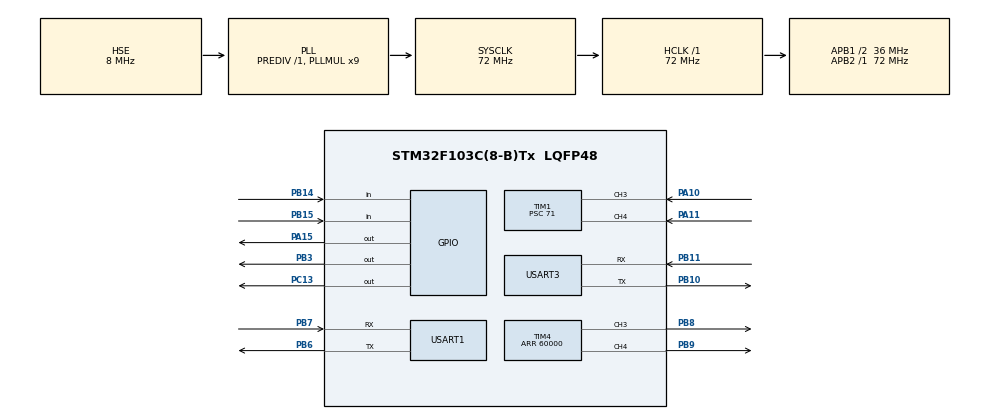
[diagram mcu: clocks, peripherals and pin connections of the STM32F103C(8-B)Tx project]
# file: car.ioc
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Mcu.Family=STM32F1
Mcu.Name=STM32F103C(8-B)Tx
Mcu.Package=LQFP48
NVIC.PriorityGroup=NVIC_PRIORITYGROUP_4
NVIC.TIM1_CC_IRQn=true\:0\:0\:false\:false\:true\:true\:true\:true
NVIC.TIM1_UP_IRQn=true\:0\:0\:false\:false\:true\:true\:true\:true
NVIC.TIM2_IRQn=true\:0\:0\:false\:false\:true\:true\:true\:true
NVIC.USART1_IRQn=true\:0\:0\:false\:false\:true\:true\:true\:true
NVIC.USART3_IRQn=true\:0\:0\:false\:false\:true\:true\:true\:true
PA10.GPIO_PuPd=GPIO_PULLDOWN
PA10.Signal=S_TIM1_CH3
PA11.GPIO_PuPd=GPIO_PULLDOWN
PA11.Signal=S_TIM1_CH4
PA13.Mode=Serial_Wire
PA13.Signal=SYS_JTMS-SWDIO
PA14.Mode=Serial_Wire
PA14.Signal=SYS_JTCK-SWCLK
PA15.Signal=GPIO_Output
PB10.Mode=Asynchronous
PB10.Signal=USART3_TX
PB11.Mode=Asynchronous
PB11.Signal=USART3_RX
PB14.GPIO_PuPd=GPIO_PULLDOWN
PB14.Signal=GPIO_Input
PB15.GPIO_PuPd=GPIO_PULLDOWN
PB15.Signal=GPIO_Input
PB3.Signal=GPIO_Output
PB6.Mode=Asynchronous
PB6.Signal=USART1_TX
PB7.Mode=Asynchronous
PB7.Signal=USART1_RX
PB8.Signal=S_TIM4_CH3
PB9.Signal=S_TIM4_CH4
PC13-TAMPER-RTC.Signal=GPIO_Output
PD0-OSC_IN.Mode=HSE-External-Oscillator
PD0-OSC_IN.Signal=RCC_OSC_IN
PD1-OSC_OUT.Mode=HSE-External-Oscillator
PD1-OSC_OUT.Signal=RCC_OSC_OUT
ProjectManager.HeapSize=0x200
ProjectManager.StackSize=0x400
ProjectManager.TargetToolchain=MDK-ARM V5.32
RCC.AHBFreq_Value=72000000
RCC.APB1CLKDivider=RCC_HCLK_DIV2
RCC.APB1Freq_Value=36000000
RCC.APB1TimFreq_Value=72000000
RCC.APB2Freq_Value=72000000
RCC.APB2TimFreq_Value=72000000
RCC.HCLKFreq_Value=72000000
RCC.PLLMUL=RCC_PLL_MUL9
RCC.PLLSourceVirtual=RCC_PLLSOURCE_HSE
RCC.SYSCLKFreq_VALUE=72000000
RCC.SYSCLKSource=RCC_SYSCLKSOURCE_PLLCLK
RCC.USBFreq_Value=72000000
SH.S_TIM1_CH3.0=TIM1_CH3,Input_Capture3_from_TI3
SH.S_TIM1_CH4.0=TIM1_CH4,Input_Capture4_from_TI4
SH.S_TIM4_CH3.0=TIM4_CH3,PWM Generation3 CH3
SH.S_TIM4_CH4.0=TIM4_CH4,PWM Generation4 CH4
TIM1.AutoReloadPreload=TIM_AUTORELOAD_PRELOAD_ENABLE
TIM1.Channel-Input_Capture3_from_TI3=TIM_CHANNEL_3
TIM1.Channel-Input_Capture4_from_TI4=TIM_CHANNEL_4
TIM1.Prescaler=71
TIM1.TIM_MasterOutputTrigger=TIM_TRGO_RESET
TIM2.AutoReloadPreload=TIM_AUTORELOAD_PRELOAD_ENABLE
TIM2.Period=4999
TIM2.Prescaler=71
TIM4.AutoReloadPreload=TIM_AUTORELOAD_PRELOAD_ENABLE
TIM4.Channel-PWM\ Generation3\ CH3=TIM_CHANNEL_3
TIM4.Channel-PWM\ Generation4\ CH4=TIM_CHANNEL_4
TIM4.Period=60000
USART1.VirtualMode=VM_ASYNC
USART3.VirtualMode=VM_ASYNC
VP_TIM1_VS_ClockSourceINT.Mode=Internal
VP_TIM2_VS_ClockSourceINT.Mode=Internal
VP_TIM4_VS_ClockSourceINT.Mode=Internal
board=custom

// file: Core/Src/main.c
/* USER CODE BEGIN Header */
/**
  ******************************************************************************
  * @file           : main.c
  * @brief          : Main program body
  ******************************************************************************
  * @attention
  *
  * Copyright (c) 2022 STMicroelectronics.
  * All rights reserved.
  *
  * This software is licensed under terms that can be found in the LICENSE file
  * in the root directory of this software component.
  * If no LICENSE file comes with this software, it is provided AS-IS.
  *
  ******************************************************************************
  */
/* USER CODE END Header */
#include "main.h"
#include "tim.h"
#include "usart.h"
#include "gpio.h"

/* USER CODE BEGIN Includes */
#include "stdio.h"
#include "motor_control.h"
#include "uart.h"
#include "string.h"
#include "motion.h"
/* USER CODE END Includes */

/* USER CODE BEGIN PTD */
#ifdef __GNUC__
  #define PUTCHAR_PROTOTYPE int __io_putchar(int ch)
#else
  #define PUTCHAR_PROTOTYPE int fputc(int ch, FILE *f)
#endif

PUTCHAR_PROTOTYPE
{
  HAL_UART_Transmit(&huart1,(uint8_t *)&ch,1,0xFFFF);//阻塞方式打印
  return ch;
}
/* USER CODE END PTD */

/* USER CODE BEGIN PV */
double TIM1_OVER=0;
double TIM1_CH3_VAL=0,Last_TIM1_CH3_VAL=0,TIM1_CH4_VAL=0,Last_TIM1_CH4_VAL=0;
double pulse_left=0,pulse_right=0;
double speed_left=0,speed_right=0;

int count_left=0,count_right=0;

const double ENCODER_TOTAL_RESOLUTION=13;
const double REDUCTION_RATIO=30;
const double FREQUENCE=1000000;

double v_left=0.3;
double v_right=0.3;
int roll_left=13*30*2;
int roll_right=13*30*2;
int state=0;
int flag=0;
int flag_admin=0;
int n=0;
/* USER CODE END PV */

void SystemClock_Config(void);
/* USER CODE BEGIN PFP */

void HAL_TIM_PeriodElapsedCallback(TIM_HandleTypeDef *htim)
{
	if(htim == &htim1)
	{
			TIM1_OVER++;  //定时器溢出值增加

	}
	else if(htim==&htim2)
	{
		if(state==0)
		{
			set_speed_left(speed_left,v_left);
			set_speed_right(speed_right,v_right);
//			printf("speed_right:");
//			printf("%f\r\n",speed_right/60*3.1415926*0.064);
			speed_left=0;
			speed_right=0;
			count_left=0;
			count_right=0;
		}
		else
		{
			set_location_left(roll_left,count_left);
			set_location_right(roll_right,count_right);
//		printf("count_left:");
//		printf("%d\r\n",count_left);
			if(roll_left==count_left&&roll_right==count_right)
			{
				state=0;
			}
     }
	}
}

void HAL_TIM_IC_CaptureCallback(TIM_HandleTypeDef *htim)
{

	if(htim == &htim1&&htim->Channel == HAL_TIM_ACTIVE_CHANNEL_3)
	{

    // printf("%f\r\n",speed_left);
			if(HAL_GPIO_ReadPin(GPIOB,GPIO_PIN_14)==0)
			{
				  //TIM1_CH3_VAL = HAL_TIM_ReadCapturedValue(&htim1,TIM_CHANNEL_3)+TIM1_OVER*65536;
				  TIM1_CH3_VAL = HAL_TIM_ReadCapturedValue(&htim1,TIM_CHANNEL_3);
		      pulse_left=TIM1_CH3_VAL-Last_TIM1_CH3_VAL;
		      Last_TIM1_CH3_VAL= TIM1_CH3_VAL;
				  if(pulse_left<0) pulse_left+=65536;
					speed_left=60*FREQUENCE/ENCODER_TOTAL_RESOLUTION/REDUCTION_RATIO/pulse_left;
//				  printf("1");
				 if(state)
				   {
						 count_left++;
//						 printf("1");
			     }
			}
			else
			{
				  TIM1_CH3_VAL = HAL_TIM_ReadCapturedValue(&htim1,TIM_CHANNEL_3);
		      pulse_left=TIM1_CH3_VAL-Last_TIM1_CH3_VAL;
		      Last_TIM1_CH3_VAL= TIM1_CH3_VAL;
				  if(pulse_left<0) pulse_left+=65536;
				  speed_left=-60*FREQUENCE/ENCODER_TOTAL_RESOLUTION/REDUCTION_RATIO/pulse_left;//-
//				  printf("2");
					if(state)
					{
						count_left--;
			    }
		  }
	}

	else if(htim == &htim1&&htim->Channel == HAL_TIM_ACTIVE_CHANNEL_4)
	{

		  if(HAL_GPIO_ReadPin(GPIOB,GPIO_PIN_15)==0)
	  {
			//TIM1_CH4_VAL = HAL_TIM_ReadCapturedValue(&htim1,TIM_CHANNEL_4)+TIM1_OVER*65536;
			TIM1_CH4_VAL = HAL_TIM_ReadCapturedValue(&htim1,TIM_CHANNEL_4);
		  pulse_right=TIM1_CH4_VAL-Last_TIM1_CH4_VAL;
		  Last_TIM1_CH4_VAL= TIM1_CH4_VAL;
			if(pulse_right<0) pulse_right+=65536;
		  speed_right=-60*FREQUENCE/ENCODER_TOTAL_RESOLUTION/REDUCTION_RATIO/pulse_right;  //-
		  if(state)
			{
				count_right--;
	    }
		}
	   else
			{
			TIM1_CH4_VAL = HAL_TIM_ReadCapturedValue(&htim1,TIM_CHANNEL_4);
		  pulse_right=TIM1_CH4_VAL-Last_TIM1_CH4_VAL;
		  Last_TIM1_CH4_VAL= TIM1_CH4_VAL;
			if(pulse_right<0) pulse_right+=65536;
			speed_right=60*FREQUENCE/ENCODER_TOTAL_RESOLUTION/REDUCTION_RATIO/pulse_right;
			 if(state)
			 {
				 count_right++;
		   }
		  }

	}
}

/* USER CODE END PFP */

int main(void)
{

  /* MCU Configuration--------------------------------------------------------*/

  /* Reset of all peripherals, Initializes the Flash interface and the Systick. */
  HAL_Init();

  /* Configure the system clock */
  SystemClock_Config();

  /* Initialize all configured peripherals */
  MX_GPIO_Init();
  MX_TIM1_Init();
  MX_TIM4_Init();
  MX_TIM2_Init();
	v_left=0;
	v_right=0;
	HAL_Delay(500);
  MX_USART1_UART_Init();
  MX_USART3_UART_Init();
  /* USER CODE BEGIN 2 */
  Motor_Init();
	HAL_UART_Receive_IT(&huart1,&aRxBuffer,1);
//	     	HAL_GPIO_WritePin(GPIOB,GPIO_PIN_3,GPIO_PIN_SET);
//		 __HAL_TIM_SET_COMPARE(&htim4,TIM_CHANNEL_3,50000);
//HAL_Delay(2000);
	printf("ready");
  /* USER CODE END 2 */

  /* Infinite loop */
  while (1)
  {

    /* USER CODE BEGIN 3 */
		//printf("test");
		if(Uart1_RxFlag != 0)
    {
        printf("recive buff is %s\r\n",Uart1_RxBuff);
        Uart1_RxFlag = 0;
        Uart1_Rx_Cnt = 0;
        memset(Uart1_RxBuff,0x00,256);
				//HAL_Delay(500);
    }
		//flag
		if(flag==0)
		{
			flag_admin=0;
		}
		else if(flag==1)//stop)
		{
			flag_admin=1;
			car_stop();
			v_left=0;
			v_right=0;
			while(1)
			{
				if(0)break;
			}
			//reset
		}
		else if(flag==2)//pause)
		{
			flag_admin=1;
			car_stop();
			v_left=0;
			v_right=0;
			HAL_Delay(5000);
	    car_start();
			v_left=0.55;
			v_right=0.6;
			HAL_Delay(300);

			//reset
			flag=0;
			flag_admin=0;
		}
		else if(flag==start)
		{

			//reset
			flag=0;
			flag_admin=0;
		}
		else if(flag==turn_left)
		{

			//reset
			flag=0;
			flag_admin=0;
		}
		else if(flag==turn_right)
		{

			//reset
			flag=0;
			flag_admin=0;
		}
		else if(flag==turn_Left)
		{

			//reset
			flag=0;
			flag_admin=0;
		}
		else if(flag==turn_Right)
		{

			//reset
			flag=0;
			flag_admin=0;
		}
		flag_admin=0;
  }
  /* USER CODE END 3 */
}

void SystemClock_Config(void)
{
  RCC_OscInitTypeDef RCC_OscInitStruct = {0};
  RCC_ClkInitTypeDef RCC_ClkInitStruct = {0};

  /** Initializes the RCC Oscillators according to the specified parameters
  * in the RCC_OscInitTypeDef structure.
  */
  RCC_OscInitStruct.OscillatorType = RCC_OSCILLATORTYPE_HSE;
  RCC_OscInitStruct.HSEState = RCC_HSE_ON;
  RCC_OscInitStruct.HSEPredivValue = RCC_HSE_PREDIV_DIV1;
  RCC_OscInitStruct.HSIState = RCC_HSI_ON;
  RCC_OscInitStruct.PLL.PLLState = RCC_PLL_ON;
  RCC_OscInitStruct.PLL.PLLSource = RCC_PLLSOURCE_HSE;
  RCC_OscInitStruct.PLL.PLLMUL = RCC_PLL_MUL9;
  if (HAL_RCC_OscConfig(&RCC_OscInitStruct) != HAL_OK)
  {
    Error_Handler();
  }

  /** Initializes the CPU, AHB and APB buses clocks
  */
  RCC_ClkInitStruct.ClockType = RCC_CLOCKTYPE_HCLK|RCC_CLOCKTYPE_SYSCLK
                              |RCC_CLOCKTYPE_PCLK1|RCC_CLOCKTYPE_PCLK2;
  RCC_ClkInitStruct.SYSCLKSource = RCC_SYSCLKSOURCE_PLLCLK;
  RCC_ClkInitStruct.AHBCLKDivider = RCC_SYSCLK_DIV1;
  RCC_ClkInitStruct.APB1CLKDivider = RCC_HCLK_DIV2;
  RCC_ClkInitStruct.APB2CLKDivider = RCC_HCLK_DIV1;

  if (HAL_RCC_ClockConfig(&RCC_ClkInitStruct, FLASH_LATENCY_2) != HAL_OK)
  {
    Error_Handler();
  }
}

void Error_Handler(void)
{
  __disable_irq();
  while (1)
  {
  }
}
